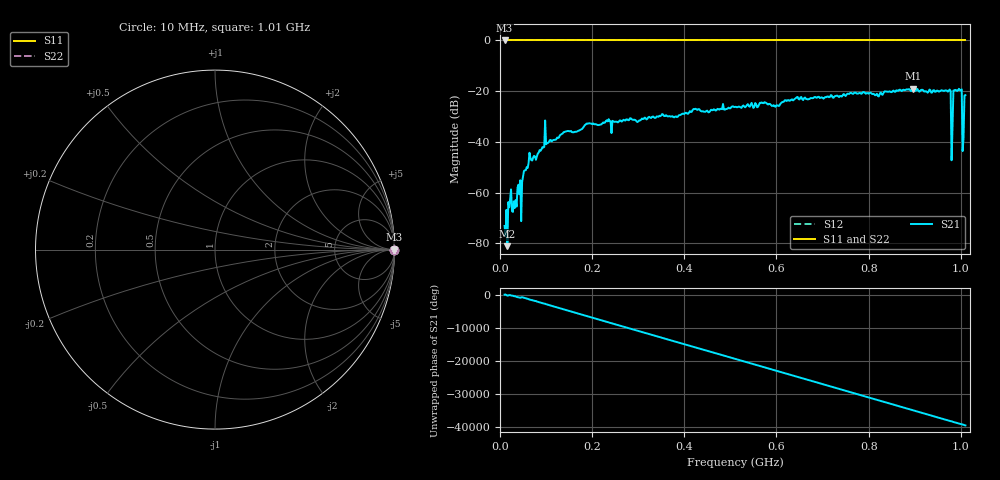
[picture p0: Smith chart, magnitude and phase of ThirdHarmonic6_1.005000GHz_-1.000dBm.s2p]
! 8/16/2025 8:11:17 AM
! C:\ANRITSUVNA\TEMP\TEMP.S2P
! CHANNEL.1
! TR.MEASUREMENT
! RAW.DATA
! RF.CORRECTION.OFF
! AVERAGING.OFF
! IF.BANDWIDTH: 5KHZ
! SWEEPTYPE:  FREQ.SWEEP(Linear)
! Reference Plane Port Info
! PORT:  PORT1  PORT2
! DISTANCE:  0  m  0  m
! TIME:  0  s  0  s
! PHASE.OFFSET:  0  deg.  0  deg.
! LOSS:  0  dB  0  dB
! REF.LOSS:  0  dB  0  dB
! REF.FREQ:  0  Hz  0  Hz
! Power Info
! POWER:  -20  dBm  -20  dBm
! EFF.POWER:  -20  dBm  -20  dBm
! SOURCE.ATTEN:  0  dB  0  dB
! TEST.ATTEN:  0  dB  0  dB
# GHZ S RI R 50.0
! FREQ.GHZ  S11RE  S11IM  S21RE  S21IM  S12RE  S12IM  S22RE  S22IM
!; PortSelection: Port_12
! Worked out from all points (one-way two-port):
!   501 points, 10 MHz to 1.01 GHz, reference 50 ohm
!   highest |S21| = -19.06 dB at 896 MHz (marker M1); lowest = -81.2 dB at 16 MHz (marker M2)
!   lowest |S11| = 0.0 dB at 10 MHz (marker M3)
!   |S11| at or under -10 dB: nowhere
!   |S22| runs from 0.0 to 0.0 dB; largest |S21 - S12| = 1.1
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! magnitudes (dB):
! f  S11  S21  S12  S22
! 10 MHz  0.0  -73.2  0.0  0.0
! 16 MHz  0.0  -81.2  0.0  0.0
! 22 MHz  0.0  -62.5  0.0  0.0
! 32 MHz  0.0  -66.1  0.0  0.0
! 46 MHz  0.0  -71.3  0.0  0.0
! 62 MHz  0.0  -48.4  0.0  0.0
! 94 MHz  0.0  -42.2  0.0  0.0
! 178 MHz  0.0  -34.9  0.0  0.0
! 344 MHz  0.0  -30.1  0.0  0.0
! 510 MHz  0.0  -26.2  0.0  0.0
! 678 MHz  0.0  -22.8  0.0  0.0
! 844 MHz  0.0  -20.2  0.0  0.0
! 896 MHz  0.0  -19.1  0.0  0.0
! 974 MHz  0.0  -19.8  0.0  0.0
! 978 MHz  0.0  -20.0  0.0  0.0
! 982 MHz  0.0  -34.6  0.0  0.0
! 984 MHz  0.0  -19.7  0.0  0.0
! 988 MHz  0.0  -19.5  0.0  0.0
! 998 MHz  0.0  -19.5  0.0  0.0
! 1.002 GHz  0.0  -19.3  0.0  0.0
! 1.008 GHz  0.0  -21.7  0.0  0.0
! 1.01 GHz  0.0  -21.6  0.0  0.0
